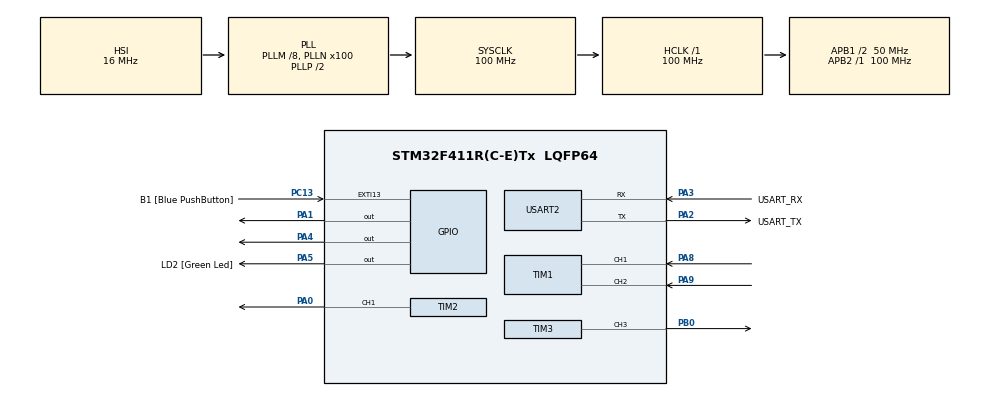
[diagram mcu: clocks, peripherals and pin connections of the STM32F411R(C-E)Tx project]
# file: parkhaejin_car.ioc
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FREERTOS.Tasks01=Task_Comm,24,128,StartDefaultTask,Default,NULL,Dynamic,NULL,NULL;Task_Motor,40,128,StartTask02,Default,NULL,Dynamic,NULL,NULL;Task_Safety,48,128,StartTask03,Default,NULL,Dynamic,NULL,NULL
FREERTOS.configUSE_NEWLIB_REENTRANT=1
Mcu.Family=STM32F4
Mcu.Name=STM32F411R(C-E)Tx
Mcu.Package=LQFP64
NVIC.PriorityGroup=NVIC_PRIORITYGROUP_4
NVIC.TIM1_UP_TIM10_IRQn=true\:5\:0\:false\:false\:true\:true\:false\:true\:true
NVIC.TimeBase=TIM1_UP_TIM10_IRQn
NVIC.TimeBaseIP=TIM10
NVIC.USART2_IRQn=true\:5\:0\:false\:false\:true\:true\:true\:true\:true
PA0-WKUP.Signal=S_TIM2_CH1_ETR
PA1.Signal=GPIO_Output
PA13.GPIO_Label=TMS
PA13.Mode=Serial_Wire
PA13.Signal=SYS_JTMS-SWDIO
PA14.GPIO_Label=TCK
PA14.Mode=Serial_Wire
PA14.Signal=SYS_JTCK-SWCLK
PA2.GPIO_Label=USART_TX
PA2.Mode=Asynchronous
PA2.Signal=USART2_TX
PA3.GPIO_Label=USART_RX
PA3.Mode=Asynchronous
PA3.Signal=USART2_RX
PA4.Signal=GPIO_Output
PA5.GPIO_Label=LD2 [Green Led]
PA5.Signal=GPIO_Output
PA8.Signal=S_TIM1_CH1
PA9.Signal=S_TIM1_CH2
PB0.Signal=S_TIM3_CH3
PB3.GPIO_Label=SWO
PB3.Signal=SYS_JTDO-SWO
PC13-ANTI_TAMP.GPIO_Label=B1 [Blue PushButton]
PC13-ANTI_TAMP.GPIO_ModeDefaultEXTI=GPIO_MODE_IT_FALLING
PC13-ANTI_TAMP.Signal=GPXTI13
PC14-OSC32_IN.Mode=LSE-External-Oscillator
PC14-OSC32_IN.Signal=RCC_OSC32_IN
PC15-OSC32_OUT.Mode=LSE-External-Oscillator
PC15-OSC32_OUT.Signal=RCC_OSC32_OUT
PH0\ -\ OSC_IN.Mode=HSE-External-Clock-Source
PH0\ -\ OSC_IN.Signal=RCC_OSC_IN
PH1\ -\ OSC_OUT.Mode=HSE-External-Clock-Source
PH1\ -\ OSC_OUT.Signal=RCC_OSC_OUT
ProjectManager.HeapSize=0x200
ProjectManager.StackSize=0x400
ProjectManager.TargetToolchain=STM32CubeIDE
RCC.48MHZClocksFreq_Value=50000000
RCC.AHBFreq_Value=100000000
RCC.APB1CLKDivider=RCC_HCLK_DIV2
RCC.APB1Freq_Value=50000000
RCC.APB1TimFreq_Value=100000000
RCC.APB2Freq_Value=100000000
RCC.APB2TimFreq_Value=100000000
RCC.CortexFreq_Value=100000000
RCC.FLatency-AdvancedSettings=FLASH_LATENCY_3
RCC.HCLKFreq_Value=100000000
RCC.HSE_VALUE=8000000
RCC.HSI_VALUE=16000000
RCC.PLLM=8
RCC.PLLN=100
RCC.SYSCLKFreq_VALUE=100000000
RCC.SYSCLKSource=RCC_SYSCLKSOURCE_PLLCLK
RCC.VCOOutputFreq_Value=200000000
SH.S_TIM1_CH1.0=TIM1_CH1,Encoder_Interface
SH.S_TIM1_CH2.0=TIM1_CH2,Encoder_Interface
SH.S_TIM2_CH1_ETR.0=TIM2_CH1,PWM Generation1 CH1
SH.S_TIM3_CH3.0=TIM3_CH3,PWM Generation3 CH3
TIM1.EncoderMode=TIM_ENCODERMODE_TI12
TIM2.Channel-PWM\ Generation1\ CH1=TIM_CHANNEL_1
TIM2.Period=999
TIM2.Prescaler=99
TIM3.Channel-PWM\ Generation3\ CH3=TIM_CHANNEL_3
TIM3.Period=19999
TIM3.Prescaler=99
USART2.VirtualMode=VM_ASYNC
VP_FREERTOS_VS_CMSIS_V2.Mode=CMSIS_V2
VP_SYS_VS_tim10.Mode=TIM10
board=NUCLEO-F411RE

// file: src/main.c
/* USER CODE BEGIN Header */
/**
  * @brief  Neuro-Drive MCU 펌웨어: UART 명령 수신 -> 모터/서보 제어 + 안전 감시
  * @note   태스크 구성 (우선순위: 안전 > 제어 > 통신)
  *         - UART ISR  : 1바이트 수신, 줄 조립, 큐 투입 [이벤트]
  *         - Task_Motor(H) : 큐 소비 -> FF+FB 제어 -> PWM [100Hz]
  *         - Task_Comm(N)  : ENC 텔레메트리, PONG (huart2 TX 전용) [100Hz]
  *         - Task_Safety(RT) : 500ms 명령 타임아웃 감시, 최악 지연 ~550ms [20Hz]
  * @note   클럭: HSI 16MHz / 8 * 100 /2 = 100MHz (FLASH 3WS)
  *         APB1=50MHz지만 타이머 클럭은 x2 규칙으로 100MHz
  */
/* USER CODE END Header */
#include "main.h"
#include "cmsis_os.h" //FreeRTOS를 쓰겠다는 선언임

/* USER CODE BEGIN Includes */
#include <stdio.h>
#include <stdlib.h>
#include <string.h>
#include <math.h> // abs() 함수용
/* USER CODE END Includes */

/* USER CODE BEGIN PTD */
typedef struct {
	int speed;   //속도 (PWM)
	int angle;   //각도 (Servo)
} MotorCommand_t;

//PID관련 구조체
typedef struct {
	float kp; //비례 게인
	float ki; //적분 게인
	float kd; //미분 게인
	float integral; //누적 오차 (I항용)
	float prev_error; //이전 오차 (D항용)
	float output_min;  //출력 하한
	float output_max; //출력 상한
} PID_t;
/* USER CODE END PTD */

/* USER CODE BEGIN PD */
#define MOTOR_PWM_MAX             999
#define SERVO_MIN_US              650
#define SERVO_MAX_US              2350
#define SERVO_CENTER_US           1500
#define TELEMETRY_PERIOD_MS       50

// 4/23 PID 제어 다시 시도
#define PWM_TO_ENC_SCALE 0.1f
// PWM999->엔코더 100이면 0.1, 엔코더 50이면 0.05

/* USER CODE END PD */

TIM_HandleTypeDef htim1;
TIM_HandleTypeDef htim2;
TIM_HandleTypeDef htim3;

UART_HandleTypeDef huart2;

/* Definitions for Task_Comm */
//RTOS 핸들 선언
osThreadId_t Task_CommHandle; // 통신 담당
const osThreadAttr_t Task_Comm_attributes = {
  .name = "Task_Comm",
  .stack_size = 128 * 4, //스택 크기
  .priority = (osPriority_t) osPriorityNormal,
};
/* Definitions for Task_Motor */
osThreadId_t Task_MotorHandle; // 모터 담당
const osThreadAttr_t Task_Motor_attributes = {
  .name = "Task_Motor",
  .stack_size = 128 * 4,
  .priority = (osPriority_t) osPriorityHigh,
};
/* Definitions for Task_Safety */
osThreadId_t Task_SafetyHandle;
const osThreadAttr_t Task_Safety_attributes = {
  .name = "Task_Safety",
  .stack_size = 128 * 4,
  .priority = (osPriority_t) osPriorityRealtime,
};
/* USER CODE BEGIN PV */
// 태스크 간 공유 변수 (volatile 필수)
// mutex 없이 volatile로 충분한 근거:
// (1) 각 변수의 쓰는 쪽이 하나뿐 (last_command_time=ISR, current_speed_rpm=Task_Motor)
// (2) Cortex-M4에서 정렬된 32비트 이하 접근은 원자적 -> 찢어진 값 불가
// volatile의 역할은 "컴파일러가 레지스터에 캐시해두고 안 읽는 것"을 막는 것
volatile int speed_cmd = 0;
volatile int angle_us = SERVO_CENTER_US;
volatile uint32_t last_command_time = 0;

// UART 수신 버퍼
uint8_t rx_data;
// uint8_t buffer[64];
// uint8_t buf_index = 0;

// PING 수신 플래그 (ISR이 세팅, Task_Comm이 소비)
volatile uint8_t ping_received = 0;

// 큐 핸들 선언
osMessageQueueId_t myQueueHandle;

//엔코더 설정 전역변수
volatile int16_t current_speed_rpm = 0; //계산된 속도(부호 있는 것)
uint16_t last_encoder_count = 0; //이전 카운터 값 저장용
/* USER CODE END PV */

void SystemClock_Config(void);
static void MX_GPIO_Init(void);
static void MX_USART2_UART_Init(void);
static void MX_TIM2_Init(void);
static void MX_TIM3_Init(void);
static void MX_TIM1_Init(void);
void StartDefaultTask(void *argument);
void StartTask02(void *argument);
void StartTask03(void *argument);

int main(void)
//main()함수는 초기화만 담당하고, osKernelStart()를 만나는 순간 RTOS로 넘겨주고 끝남
{

  /* MCU Configuration--------------------------------------------------------*/

  /* Reset of all peripherals, Initializes the Flash interface and the Systick. */
  HAL_Init();  //1. 하드웨어 초기화

  /* Configure the system clock */
  SystemClock_Config(); // 2. 심장 박동 설정느낌 system clock

  /* Initialize all configured peripherals */
  MX_GPIO_Init(); //핀 설정
  MX_USART2_UART_Init(); //통신 설정
  MX_TIM2_Init(); //타이머 설정
  MX_TIM3_Init();
  MX_TIM1_Init();
  /* USER CODE BEGIN 2 */
  // [긴급 추가] 타이머 3번 전원 강제 공급
    __HAL_RCC_TIM3_CLK_ENABLE();

    // 1. 핀 설정 강제 적용
    Force_Hardware_Config();

    // 2. PWM 타이머 시작
    HAL_TIM_PWM_Start(&htim2, TIM_CHANNEL_1); // DC Motor
    HAL_TIM_PWM_Start(&htim3, TIM_CHANNEL_3); // Servo

    // 큐 생성 (크기: 16개, 데이터 크기: 상자 크기만큼)
    // 큐 생성 옮겨야 함
    // 3. 변수 초기화
    last_command_time = HAL_GetTick();

    // 인터럽트 수신 시작( 한 글자 들어오면 인터럽트 발생해라는 느낌)
    // 이것도 옮겨야함

  /* USER CODE END 2 */

  /* Init scheduler */
  osKernelInitialize();

  /* USER CODE BEGIN RTOS_QUEUES */
  /* add queues, ... */
  // 큐 만들기: 크기 16개, MotorCommand_t 구조체만큼
  myQueueHandle = osMessageQueueNew(16, sizeof(MotorCommand_t), NULL);
  /* USER CODE END RTOS_QUEUES */

  /* Create the thread(s) */
  /* creation of Task_Comm */
  // 스레드 생성
  Task_CommHandle = osThreadNew(StartDefaultTask, NULL, &Task_Comm_attributes);

  /* creation of Task_Motor */
  Task_MotorHandle = osThreadNew(StartTask02, NULL, &Task_Motor_attributes);

  /* creation of Task_Safety */
  Task_SafetyHandle = osThreadNew(StartTask03, NULL, &Task_Safety_attributes);

  /* Start scheduler */
  //이제부터 main함수는 멈추고, 태스크들이 움직임 -> RTOS 시작
  osKernelStart();

  /* We should never get here as control is now taken by the scheduler */

  /* Infinite loop */
  while (1)
  {

  }
}

void SystemClock_Config(void)
{
  RCC_OscInitTypeDef RCC_OscInitStruct = {0};
  RCC_ClkInitTypeDef RCC_ClkInitStruct = {0};

  /** Configure the main internal regulator output voltage
  */
  __HAL_RCC_PWR_CLK_ENABLE();
  __HAL_PWR_VOLTAGESCALING_CONFIG(PWR_REGULATOR_VOLTAGE_SCALE1);

  /** Initializes the RCC Oscillators according to the specified parameters
  * in the RCC_OscInitTypeDef structure.
  */
  RCC_OscInitStruct.OscillatorType = RCC_OSCILLATORTYPE_HSI;
  RCC_OscInitStruct.HSIState = RCC_HSI_ON;
  RCC_OscInitStruct.HSICalibrationValue = RCC_HSICALIBRATION_DEFAULT;
  RCC_OscInitStruct.PLL.PLLState = RCC_PLL_ON;
  RCC_OscInitStruct.PLL.PLLSource = RCC_PLLSOURCE_HSI;
  RCC_OscInitStruct.PLL.PLLM = 8;
  RCC_OscInitStruct.PLL.PLLN = 100;
  RCC_OscInitStruct.PLL.PLLP = RCC_PLLP_DIV2;
  RCC_OscInitStruct.PLL.PLLQ = 4;
  if (HAL_RCC_OscConfig(&RCC_OscInitStruct) != HAL_OK)
  {
    Error_Handler();
  }

  /** Initializes the CPU, AHB and APB buses clocks
  */
  RCC_ClkInitStruct.ClockType = RCC_CLOCKTYPE_HCLK|RCC_CLOCKTYPE_SYSCLK
                              |RCC_CLOCKTYPE_PCLK1|RCC_CLOCKTYPE_PCLK2;
  RCC_ClkInitStruct.SYSCLKSource = RCC_SYSCLKSOURCE_PLLCLK;
  RCC_ClkInitStruct.AHBCLKDivider = RCC_SYSCLK_DIV1;
  RCC_ClkInitStruct.APB1CLKDivider = RCC_HCLK_DIV2;
  RCC_ClkInitStruct.APB2CLKDivider = RCC_HCLK_DIV1;

  if (HAL_RCC_ClockConfig(&RCC_ClkInitStruct, FLASH_LATENCY_3) != HAL_OK)
  {
    Error_Handler();
  }
}

static void MX_TIM1_Init(void)
{

  TIM_Encoder_InitTypeDef sConfig = {0};
  TIM_MasterConfigTypeDef sMasterConfig = {0};

  /* USER CODE BEGIN TIM1_Init 1 */
  // 엔코더 모드 TI12 = A/B 양 채널 엣지 모두 카운트(4체배).
  // 90도 위상차로 방향까지 하드웨어가 판별 -> CPU 개입 없음
  // 16비트 프리러닝 카운터: 넘침은 Task_Motor에서 int16_t 캐스팅으로 처리
  /* USER CODE END TIM1_Init 1 */
  htim1.Instance = TIM1;
  htim1.Init.Prescaler = 0;
  htim1.Init.CounterMode = TIM_COUNTERMODE_UP;
  htim1.Init.Period = 65535;
  htim1.Init.ClockDivision = TIM_CLOCKDIVISION_DIV1;
  htim1.Init.RepetitionCounter = 0;
  htim1.Init.AutoReloadPreload = TIM_AUTORELOAD_PRELOAD_DISABLE;
  sConfig.EncoderMode = TIM_ENCODERMODE_TI12;
  sConfig.IC1Polarity = TIM_ICPOLARITY_RISING;
  sConfig.IC1Selection = TIM_ICSELECTION_DIRECTTI;
  sConfig.IC1Prescaler = TIM_ICPSC_DIV1;
  sConfig.IC1Filter = 0;
  sConfig.IC2Polarity = TIM_ICPOLARITY_RISING;
  sConfig.IC2Selection = TIM_ICSELECTION_DIRECTTI;
  sConfig.IC2Prescaler = TIM_ICPSC_DIV1;
  sConfig.IC2Filter = 0;
  if (HAL_TIM_Encoder_Init(&htim1, &sConfig) != HAL_OK)
  {
    Error_Handler();
  }
  sMasterConfig.MasterOutputTrigger = TIM_TRGO_RESET;
  sMasterConfig.MasterSlaveMode = TIM_MASTERSLAVEMODE_DISABLE;
  if (HAL_TIMEx_MasterConfigSynchronization(&htim1, &sMasterConfig) != HAL_OK)
  {
    Error_Handler();
  }

}

static void MX_TIM2_Init(void)
{

  TIM_MasterConfigTypeDef sMasterConfig = {0};
  TIM_OC_InitTypeDef sConfigOC = {0};

  /* USER CODE BEGIN TIM2_Init 1 */
  // DC모터 PWM: 100MHz/1400/1000 = 71.4Hz, 듀티 0~999
  // Period 999가 상위 계층 계약의 근원 (C++의 throttle*999)
  // 71Hz는 낮은 편 -> 소음/전류리플 관점에선 kHz대로 올리는 게 개선 방향
  /* USER CODE END TIM2_Init 1 */

  htim2.Instance = TIM2;
  htim2.Init.Prescaler = 1399;
  htim2.Init.CounterMode = TIM_COUNTERMODE_UP;
  htim2.Init.Period = 999;
  htim2.Init.ClockDivision = TIM_CLOCKDIVISION_DIV1;
  htim2.Init.AutoReloadPreload = TIM_AUTORELOAD_PRELOAD_DISABLE;
  if (HAL_TIM_PWM_Init(&htim2) != HAL_OK)
  {
    Error_Handler();
  }
  sMasterConfig.MasterOutputTrigger = TIM_TRGO_RESET;
  sMasterConfig.MasterSlaveMode = TIM_MASTERSLAVEMODE_DISABLE;
  if (HAL_TIMEx_MasterConfigSynchronization(&htim2, &sMasterConfig) != HAL_OK)
  {
    Error_Handler();
  }
  sConfigOC.OCMode = TIM_OCMODE_PWM1;
  sConfigOC.Pulse = 0;
  sConfigOC.OCPolarity = TIM_OCPOLARITY_HIGH;
  sConfigOC.OCFastMode = TIM_OCFAST_DISABLE;
  if (HAL_TIM_PWM_ConfigChannel(&htim2, &sConfigOC, TIM_CHANNEL_1) != HAL_OK)
  {
    Error_Handler();
  }
  HAL_TIM_MspPostInit(&htim2);

}

static void MX_TIM3_Init(void)
{

  TIM_MasterConfigTypeDef sMasterConfig = {0};
  TIM_OC_InitTypeDef sConfigOC = {0};

  /* USER CODE BEGIN TIM3_Init 1 */
  // 서보 PWM: 100MHz/100 = 1MHz -> 1틱 = 1us, 20000틱 = 20ms(50Hz)
  // 프리스케일러를 이렇게 고르면 compare 값 = 펄스폭(us) 그대로
  // (SERVO_MIN 650 = 650us) -> 단위변환 코드가 사라짐
  /* USER CODE END TIM3_Init 1 */
  htim3.Instance = TIM3;
  htim3.Init.Prescaler = 99;
  htim3.Init.CounterMode = TIM_COUNTERMODE_UP;
  htim3.Init.Period = 19999;
  htim3.Init.ClockDivision = TIM_CLOCKDIVISION_DIV1;
  htim3.Init.AutoReloadPreload = TIM_AUTORELOAD_PRELOAD_DISABLE;
  if (HAL_TIM_PWM_Init(&htim3) != HAL_OK)
  {
    Error_Handler();
  }
  sMasterConfig.MasterOutputTrigger = TIM_TRGO_RESET;
  sMasterConfig.MasterSlaveMode = TIM_MASTERSLAVEMODE_DISABLE;
  if (HAL_TIMEx_MasterConfigSynchronization(&htim3, &sMasterConfig) != HAL_OK)
  {
    Error_Handler();
  }
  sConfigOC.OCMode = TIM_OCMODE_PWM1;
  sConfigOC.Pulse = 0;
  sConfigOC.OCPolarity = TIM_OCPOLARITY_HIGH;
  sConfigOC.OCFastMode = TIM_OCFAST_DISABLE;
  if (HAL_TIM_PWM_ConfigChannel(&htim3, &sConfigOC, TIM_CHANNEL_3) != HAL_OK)
  {
    Error_Handler();
  }
  HAL_TIM_MspPostInit(&htim3);

}

static void MX_USART2_UART_Init(void)
{
  /* USER CODE BEGIN USART2_Init 0 */
  // 115200 8N1 : 1프레임 10비트 -> 1바이트 = 약 87us
  // 이 간격이 "1바이트 인터럽트 방식"이 감당 가능한 근거
  /* USER CODE END USART2_Init 0 */

  huart2.Instance = USART2;
  huart2.Init.BaudRate = 115200;
  huart2.Init.WordLength = UART_WORDLENGTH_8B;
  huart2.Init.StopBits = UART_STOPBITS_1;
  huart2.Init.Parity = UART_PARITY_NONE;
  huart2.Init.Mode = UART_MODE_TX_RX;
  huart2.Init.HwFlowCtl = UART_HWCONTROL_NONE;
  huart2.Init.OverSampling = UART_OVERSAMPLING_16;
  if (HAL_UART_Init(&huart2) != HAL_OK)
  {
    Error_Handler();
  }

}

static void MX_GPIO_Init(void)
{
  GPIO_InitTypeDef GPIO_InitStruct = {0};

  /* GPIO Ports Clock Enable */
  __HAL_RCC_GPIOC_CLK_ENABLE();
  __HAL_RCC_GPIOH_CLK_ENABLE();
  __HAL_RCC_GPIOA_CLK_ENABLE();
  __HAL_RCC_GPIOB_CLK_ENABLE();

  /*Configure GPIO pin Output Level */
  HAL_GPIO_WritePin(GPIOA, GPIO_PIN_1|GPIO_PIN_4|LD2_Pin, GPIO_PIN_RESET);

  /*Configure GPIO pin : B1_Pin */
  GPIO_InitStruct.Pin = B1_Pin;
  GPIO_InitStruct.Mode = GPIO_MODE_IT_FALLING;
  GPIO_InitStruct.Pull = GPIO_NOPULL;
  HAL_GPIO_Init(B1_GPIO_Port, &GPIO_InitStruct);

  /*Configure GPIO pins : PA1 PA4 LD2_Pin */
  GPIO_InitStruct.Pin = GPIO_PIN_1|GPIO_PIN_4|LD2_Pin;
  GPIO_InitStruct.Mode = GPIO_MODE_OUTPUT_PP;
  GPIO_InitStruct.Pull = GPIO_NOPULL;
  GPIO_InitStruct.Speed = GPIO_SPEED_FREQ_LOW;
  HAL_GPIO_Init(GPIOA, &GPIO_InitStruct);

}

/* USER CODE BEGIN 4 */

// [필수 추가] printf를 UART로 쏘기 위한 함수
#ifdef __GNUC__
#define PUTCHAR_PROTOTYPE int __io_putchar(int ch)
#else
#define PUTCHAR_PROTOTYPE int fputc(int ch, FILE *f)
#endif

PUTCHAR_PROTOTYPE
{
  HAL_UART_Transmit(&huart2, (uint8_t *)&ch, 1, 0xFFFF);
  return ch;
}

// PID함수
// 7/23
// PID (현재 kp=3.0, ki=kd=0 -> 실질적으론 P 제어임 => 솔직하게 이 부분은 너무 어렵다)
// dt=0.01f 하드코딩: Task_Motor가 osDelayUntil로 100Hz 고정이라 가능
// 한계: anti-windup이 출력 클램프 방식뿐 (ki 사용 시 적분항 별도 클램프 필요)
float PID_Calculate(PID_t *pid, float error){
	// P항: 지금 오차에 비례
	float p = pid->kp * error;

	// I항: 오차를 누적 (dt = 0.01s 고정, 100Hz 루프)
	pid->integral += error * 0.01f;
	float i = pid->ki * pid->integral;

	// D항: 오차의 변화율
	float d = pid->kd * (error - pid->prev_error) / 0.01f;
	pid->prev_error = error;

	float output = p + i + d;

	// 출력 범위 제한 (Anti-windup)
	if(output > pid->output_max) output = pid->output_max;
	if(output < pid->output_min) output = pid->output_min;

	return output;
}

// 기존 코드에서 가져온 핀 강제 설정 함수
void Force_Hardware_Config(void)
{
  GPIO_InitTypeDef GPIO_InitStruct = {0};
  /* TIM2_CH1 -> PA0 */
  __HAL_RCC_GPIOA_CLK_ENABLE();
  GPIO_InitStruct.Pin = GPIO_PIN_0;
  GPIO_InitStruct.Mode = GPIO_MODE_AF_PP;
  GPIO_InitStruct.Pull = GPIO_NOPULL;
  GPIO_InitStruct.Speed = GPIO_SPEED_FREQ_LOW;
  GPIO_InitStruct.Alternate = GPIO_AF1_TIM2;
  HAL_GPIO_Init(GPIOA, &GPIO_InitStruct);
  /* TIM3_CH3 -> PB0 */
  __HAL_RCC_GPIOB_CLK_ENABLE();
  GPIO_InitStruct.Pin = GPIO_PIN_0;
  GPIO_InitStruct.Mode = GPIO_MODE_AF_PP;
  GPIO_InitStruct.Pull = GPIO_NOPULL;
  GPIO_InitStruct.Speed = GPIO_SPEED_FREQ_LOW;
  GPIO_InitStruct.Alternate = GPIO_AF2_TIM3;
  HAL_GPIO_Init(GPIOB, &GPIO_InitStruct);
}

// uart 인터럽트 콜백 함수 (데이터 오면 여기로 점프)
void HAL_UART_RxCpltCallback(UART_HandleTypeDef *huart)
{
	//하드웨어가 데이터 받으면 이 함수로 오는 거임
	if(huart->Instance == USART2)
	{
		//디버깅. 인터럽트가 지금 잘 안되는 중.
		// 일단 데이터 오는지 확인해야 하니깐 데이터 오면 무조건 깜빡이기
		HAL_GPIO_TogglePin(LD2_GPIO_Port, LD2_Pin);
    // 7/23 위 내용은 다 해결되었지만 디버깅 흔적 남겨두기
    // static인 이유: ISR 호출 사이에 "조립 중인 줄"의 상태를 보존해야 함
    // (1바이트마다 호출되므로 지역변수면 매번 초기화되어 줄 조립 불가)
		static uint8_t buffer[64]; //static으로 선언했다-> 함수가 끝나도 값이 유지돼야 함
		static uint8_t buf_index = 0;

		// 문장 끝 확인
		if(rx_data == '\n' || rx_data == '\r')
		{
			if(buf_index > 0)
			{
				buffer[buf_index] = 0;

				//************ Phase 6 들어가기 전 *(******
				//**************** Ping Pong 추가해서 시간 측정*********
        //***********4/24중요
        // PONG이 현재 ISR에 있어, UART 자체에 두가지 문제가 발생함
        // 1) ISR에서 blocking UART 100ms 대기
        // 2) Race Condition
        // 해결하기 위해 PONG을 ISR에서 Task로 옮김
        //  */
				// if(strcmp((char*)buffer, "PING")==0)
				// {
				// 	HAL_UART_Transmit(&huart2, (uint8_t*)"PONG\r\n", 6, 100);
				// 	buf_index = 0;
				// 	memset(buffer, 0, sizeof(buffer));
				// 	HAL_UART_Receive_IT(&huart2, &rx_data, 1);
				// 	return; //모터 명령 파싱으로 안 넘어감
				// }
        if(strcmp((char*)buffer, "PING")==0)
        {
          ping_received = 1;
          buf_index = 0;
          memset(buffer, 0, sizeof(buffer));
          HAL_UART_Receive_IT(&huart2, &rx_data, 1);
          return;
        }

				int temp_speed = 0;
				int temp_angle = 1500;

        // 7/23 아래 내용 개선 여지 작성
        // 개선 여지: sscanf는 무거워서 ISR 최소화 원칙에 어긋남
        // (PONG을 태스크로 옮긴 것과 같은 원칙 -> 줄 단위로 큐에 넘기고 파싱은 태스크에서)
				//파싱 성공하면 큐에 넣음
				if(sscanf((char*)buffer, "%d,%d", &temp_speed, &temp_angle) == 2)
				{
					MotorCommand_t send_msg;
					send_msg.speed = temp_speed;
					send_msg.angle = temp_angle;

					//큐에 넣기 (비동기 전송)
					// 0은 대기시간 0, 즉 큐가 꽉 찼으면 미련 없이 버린다는 뜻
					osMessageQueuePut(myQueueHandle, &send_msg, 0, 0);

					last_command_time = HAL_GetTick();
					HAL_GPIO_TogglePin(LD2_GPIO_Port, LD2_Pin);
				}
				buf_index = 0;
				memset(buffer, 0, sizeof(buffer));
			}
		}
		else
		{
			if(buf_index < 60){
				buffer[buf_index++] = rx_data;
			}
		}

		// 다음 인터럽트 장전
    // 7/23 추가설명 아래에 붙임
    // 재장전 필수: 빼먹으면 수신이 영구 정지
    // 노이즈 에러로 여기 못 와도 ErrorCallback이 재장전해주는 이중 보험
		HAL_UART_Receive_IT(&huart2, &rx_data, 1);
	}
}

//dp에러 발생 시(노이즈 같은 거) 자동 복구 함수
void HAL_UART_ErrorCallback(UART_HandleTypeDef *huart)
{
	if(huart->Instance == USART2)
	{
		// 에러 발생하면 빨간불(LD2) 대신 끄거나 다른 표시 가능
		// 핵심 : 다시 수신 모드로 복귀시켜야 함
		HAL_UART_Receive_IT(&huart2, &rx_data, 1);
	}
}
/* USER CODE END 4 */

void StartDefaultTask(void *argument)
//젤 먼저 실행
//데이터가 오면 나한테 알려줘라고 하드웨어에 명령하고 즉시 끝나는 거임.
// 실제로 데이터를 받을 때까지 기다리진 않는다. (Non-blocking)
{
  /* USER CODE BEGIN 5 */
  HAL_UART_Receive_IT(&huart2, &rx_data, 1);
  //2번 uart 장치 사용
  //rx_data변수에 데이터 담기
  // 1바이트만 와도 알리기.
  // IT의 의미는 interrupt
  //"300,1500\n"이 왔다고 가정하면
  // '3'이 제일 먼저 도착하고 rx_data에 3 저장
  // 1개 왔으니깐 interrupt를 검.
  // 하던 일 멈추고 콜백 함수 HAL_UART_RxCpltCallback으로 점프

  /* Infinite loop */
  for(;;)
  {
    // 7/23
    // huart2 TX는 이 태스크(Task_Comm)가 단독 소유 (ENC + PONG 모두 여기서만 송신)
    // -> ISR에서 PONG으로 옮겨온 이유이자, TX 경쟁이 구조적으로 없는 근거

    //4/24 PING 요청이 들어와 있으면 PONG 응답
    // ISR 대신 Task에서 송신하여 huart2 Race Condition 방지
    if(ping_received)
    {
      ping_received=0; //플래그 해제 (다음 PING 수신 대비임)
      HAL_UART_Transmit(&huart2, (uint8_t*)"PONG\r\n", 6, 10);
    }

    //엔코더 값 송신
    char enc_buf[32];
    int len = snprintf(enc_buf, sizeof(enc_buf), "ENC:%d\r\n", current_speed_rpm);
    HAL_UART_Transmit(&huart2, (uint8_t*)enc_buf, len, 10);

    osDelay(10);
    // [Polling] 데이터 수신 확인
//    if (HAL_UART_Receive(&huart2, &rx_data, 1, 1) == HAL_OK)
//    {
//        // 1. 엔터키 감지 (\r 또는 \n 둘 다 처리)
//        if (rx_data == '\n' || rx_data == '\r')
//        {
//            if (buf_index > 0) // 버퍼에 데이터가 있을 때만 실행
//            {
//                buffer[buf_index] = 0; // 문자열 끝 맺음 (Null termination)
//
//                int temp_speed = 0;
//                int temp_angle = 1500;
//
//                // 2. 파싱 및 명령어 적용
//                if (sscanf((char*)buffer, "%d,%d", &temp_speed, &temp_angle) == 2)
//                {
////                    speed_cmd = temp_speed;
////                    angle_us = temp_angle;
//
//                	//큐에 넣기
//                	MotorCommand_t send_msg;
//                	send_msg.speed = temp_speed;
//                	send_msg.angle = temp_angle;
//
//                	// 큐에 발송
//                	osMessageQueuePut(myQueueHandle, &send_msg, 0, 0);
//
//                    last_command_time = HAL_GetTick(); // 안전장치 타이머 리셋
//
//                    // ★ 성공 확인용: 명령 알아들으면 LED 깜빡!
//                    HAL_GPIO_TogglePin(LD2_GPIO_Port, LD2_Pin);
//                }
//
//                // 버퍼 초기화
//                buf_index = 0;
//                memset(buffer, 0, sizeof(buffer));
//            }
//        }
//        else
//        {
//            // 3. 일반 문자 저장 (숫자, 쉼표 등)
//            if (buf_index < 60) {
//                buffer[buf_index++] = rx_data;
//            }
//        }
//    }
//    else
    // {
    //     // 데이터 없으면 대기 (RTOS 스케줄링 양보)
    // 	// 이제 폴링 방식에서 인터럽트로 바꿀거라서 주석때림

    // 	//****엔코더 때문에 바뀜
    // 	char enc_buf[32];
    // 	int len = snprintf(enc_buf, sizeof(enc_buf), "ENC:%d\r\n", current_speed_rpm);
    // 	HAL_UART_Transmit(&huart2, (uint8_t*)enc_buf, len, 100);
    //     osDelay(50); // 할 거 없으니깐 대기 (자는거임) -> 엔코더 받는 역할해보자
    // }
  }
  /* USER CODE END 5 */
}

void StartTask02(void *argument)
//모터 태스크
{
  /* USER CODE BEGIN StartTask02 */
  // 받을 빈 상자 준비
  MotorCommand_t rcv_msg;
  int current_angle = 1500;
  int target_pwm = 0; //Python이 보낸 원본 PWM (Feedforward용)
  float target_enc = 0.0f;  // 엔코더 단위로 변환된 목표
  float error = 0.0f;
  int final_pwm = 0;

  PID_t pid_speed = {
		  .kp = 3.0f,  // 4/23 단위 바뀌니깐 게인 재조정 필요함. + 7/22 그리고 사실 PID는 제대로 못 했다고 볼 수 있다. 어렵다.
		  .ki = 0.0f,
		  .kd = 0.0f,
		  .integral = 0.0f,
		  .prev_error = 0.0f,
		  .output_min = -500.0f, // PID는 "보정량"만 담당하므로 999->500 축소
		  .output_max = 500.0f
  };

  // 성능 측정용 변수
  uint32_t last_wake_time = osKernelGetTickCount();
  uint32_t current_time = 0;
  uint32_t time_diff = 0;

  // 통계용
  uint32_t max_jitter = 0;
  uint32_t min_jitter = 9999;
  uint32_t loop_count = 0;

  // 1. 엔코더 하드웨어 시작
  HAL_TIM_Encoder_Start(&htim1, TIM_CHANNEL_ALL);

  // 2. 초기값 설정
  last_encoder_count = __HAL_TIM_GET_COUNTER(&htim1);

  /* Infinite loop */
  for(;;)
  {
      // (1) 주기적 실행 보장을 위한 시간 측정
      current_time = osKernelGetTickCount();
      time_diff = current_time - last_wake_time;

      // (2) 통계 집계
      if(loop_count > 10){
          if(time_diff > max_jitter) max_jitter = time_diff;
          if(time_diff < min_jitter) min_jitter = time_diff;
      }
      loop_count++;

      // ---------------------------------------------------------
      // ★ 엔코더 속도 계산 로직
      // ---------------------------------------------------------
      uint16_t current_count = __HAL_TIM_GET_COUNTER(&htim1);
      int16_t diff = (int16_t)(current_count - last_encoder_count);
      // 카운터가 65535 -> 0으로 넘어가도 unsigned 뺄셈 후 int16_t 캐스팅이 자동으로
      // 올바른 부호 있는 변화량을 만들어냄
      //
      // TIM1 엔코더 카운터는 하드웨어적으로 16비트(0~65535 순환)라서,
      // 뺄셈 결과를 정확히 16비트로 해석해야 랩어라운드가 자동 처리됨
      // 예를 들면, 바퀴 +6틱, 카운터 한 바퀴 돈 경우:
      // last = 65533, current = 3
      // 3 - 65533 = -65530 -> 16비트로 자르면 6 -> int16_t로 읽으면 +6
      // 만약 여기에서 int로 계산하면 -65530이라는 엉뚱한 값이 나옴
      // 그런데 이 차는 10ms에 수십 틱 수준이라 여유가 수백배임.
      // 정리하면, int는 플랫폼 의존 크기, int16_t는 표준이 보장하는 정확히 16비트

      current_speed_rpm = diff;
      last_encoder_count = current_count;

      // ---------------------------------------------------------

      //*************엔코더 값 보내기
      // Task_Motor 루프 안, 엔코더 계산 바로 아래에 추가
      static uint8_t enc_tick = 0;
      if(++enc_tick >= 5) { // 100Hz 루프에서 5번마다 = 20Hz 전송
          current_speed_rpm = diff;  //전역변수에 저장. 프린트 안하기
          enc_tick = 0;
      }

      // (3) 데이터 수신 및 처리 (순서 수정됨)
      // 먼저 큐를 확인
      // 7/23 아래
      // 타임아웃 0 = 논블로킹: 새 명령 없으면 "직전 목표를 유지"한 채 제어 계속
      // -> 통신이 끊겨도 모터는 마지막 명령으로 계속 달린다는 뜻
      // -> 이게 Task_Safety(워치독)가 반드시 필요한 이유
      osStatus_t status = osMessageQueueGet(myQueueHandle, &rcv_msg, NULL, 0);

      // 데이터가 "있으면" (osOK)
      if(status == osOK){
          // 1. 변수 갱신
//          current_speed = rcv_msg.speed;
//          current_angle = rcv_msg.angle;
    	  //위 방식이 Open-Loop임 (명령을 그대로 PWM에 떄려 박음)

    	  //목표: Closed-Loop (엔코더 피드백으로 보정)
    	  target_pwm = rcv_msg.speed; // 목표값
    	  current_angle = rcv_msg.angle;
//
//    	  error = target_speed - current_speed_rpm; //오차
//    	  current_speed = (int)PID_Calculate(&pid_speed, error);
//    	  pwm_output = current_speed;
//    	  __HAL_TIM_SET_COMPARE(&htim2, TIM_CHANNEL_1, pwm_output);
//
//          // 2.  로그 출력 (명령 받았을 때만 찍힘)
//          printf("CMD_RECV: Speed=%d, Angle=%d\r\n", current_speed, current_angle);
      }

      // 단위 통일: PWM 목표 -> 엔코더 목표로 변환
      target_enc = (float)target_pwm * PWM_TO_ENC_SCALE;

      // 이제 error가 "엔코더 단위"로서 의미가 있음
      error = target_enc - (float)current_speed_rpm;
      //PID는 "보정량(ΔPWM)"만 계산
      float pid_correction = PID_Calculate(&pid_speed, error);

      //** Feedforward(원본 PWM) + Feedback(PID보정) 결합 */
      final_pwm = target_pwm + (int)pid_correction;

      // ---------------------------------------------------------
      // 모터 구동 로직
      // ---------------------------------------------------------

      // DC 모터 제어
      if (final_pwm > MOTOR_PWM_MAX) final_pwm = MOTOR_PWM_MAX;
      if (final_pwm < -MOTOR_PWM_MAX) final_pwm = -MOTOR_PWM_MAX;

      //전진
      if (final_pwm > 0) {
    	  // IN1=HIGH, IN2=LOW (정방향 회전)
          HAL_GPIO_WritePin(GPIOA, GPIO_PIN_1, GPIO_PIN_SET);
          HAL_GPIO_WritePin(GPIOA, GPIO_PIN_4, GPIO_PIN_RESET);
          //PWM값 설정 (속도 조절)
          __HAL_TIM_SET_COMPARE(&htim2, TIM_CHANNEL_1, (uint32_t)final_pwm);
      }
      //후진
      else if (final_pwm < 0) {
    	  //IN1=LOW, IN2=HIGH (역방향 회전)
          HAL_GPIO_WritePin(GPIOA, GPIO_PIN_1, GPIO_PIN_RESET);
          HAL_GPIO_WritePin(GPIOA, GPIO_PIN_4, GPIO_PIN_SET);
          __HAL_TIM_SET_COMPARE(&htim2, TIM_CHANNEL_1, (uint32_t)abs(final_pwm));
      } else {
          HAL_GPIO_WritePin(GPIOA, GPIO_PIN_1, GPIO_PIN_RESET);
          HAL_GPIO_WritePin(GPIOA, GPIO_PIN_4, GPIO_PIN_RESET);
          __HAL_TIM_SET_COMPARE(&htim2, TIM_CHANNEL_1, 0);
      }

      // 서보 모터 제어, 각도 제한도 해줌.
      if (current_angle < SERVO_MIN_US) current_angle = SERVO_MIN_US;
      if (current_angle > SERVO_MAX_US) current_angle = SERVO_MAX_US;
      __HAL_TIM_SET_COMPARE(&htim3, TIM_CHANNEL_3, (uint32_t)current_angle);

      //*******
      //중요함. OTA 성공 검증용 LED 깜빡이기
      // *******
      static uint16_t led_counter = 0;
      if(++led_counter >= 100) {
    	  //100Hz 루프에서 100번 = 1초
    	  HAL_GPIO_TogglePin(LD2_GPIO_Port, LD2_Pin);
    	  led_counter = 0;
      }
      // 주기 제어 (100Hz)
      // 7/23 아래 주석 추가
      // osDelayUntil = 절대 시각 기준이라 작업 시간과 무관하게 드리프트 없음
      // (osDelay였으면 "작업시간+10ms"로 주기가 계속 밀림. C++의 sleep_until과 동일 사상)
      last_wake_time = current_time;
      osDelayUntil(last_wake_time + 10);
  }
  /* USER CODE END StartTask02 */
}

void StartTask03(void *argument)
{
  /* USER CODE BEGIN StartTask03 */
  /* Infinite loop */
  for(;;)
  {
    // 500ms 동안 명령 없으면 정지
    // 7/23 아래 주석 추가
    // 워치독: 500ms 타임아웃 + 50ms 감시 주기 -> 최악 반응 지연 ~550ms
    // 이중 조치: (1) 큐로 정식 정지(서보 중립 포함) (2) 레지스터 직접 차단(즉시)
    // 우선순위 Realtime = 안전 감시는 어떤 작업에도 선점당하지 않는다
    if (HAL_GetTick() - last_command_time > 500)
    {
//        speed_cmd = 0; // 다음 루프에서 모터 태스크가 멈추게 함

    	// 큐에 "속도 0" 명령을 강제로 집어넣음
    	MotorCommand_t stop_msg;
    	stop_msg.speed = 0;
    	stop_msg.angle = 1500; // 조향 중립

    	//큐에 넣기 (우선순위 높여서 보내도 되지만, 일단 기본적으로)
    	// 큐가 꽉 차있어도(0) 강제로 넣지는 않음 (어차피 꽉 찼으면 명령이 온 거니까)
    	osMessageQueuePut(myQueueHandle, &stop_msg, 0, 0);

        // 즉시 하드웨어 차단 (이중 안전)
        __HAL_TIM_SET_COMPARE(&htim2, TIM_CHANNEL_1, 0);
        HAL_GPIO_WritePin(LD2_GPIO_Port, LD2_Pin, GPIO_PIN_RESET);
    }

    osDelay(50);
  }
  /* USER CODE END StartTask03 */
}

void HAL_TIM_PeriodElapsedCallback(TIM_HandleTypeDef *htim)
{
  if (htim->Instance == TIM10) {
    HAL_IncTick();
  }
}

void Error_Handler(void)
{
  __disable_irq();
  while (1)
  {
  }
}
